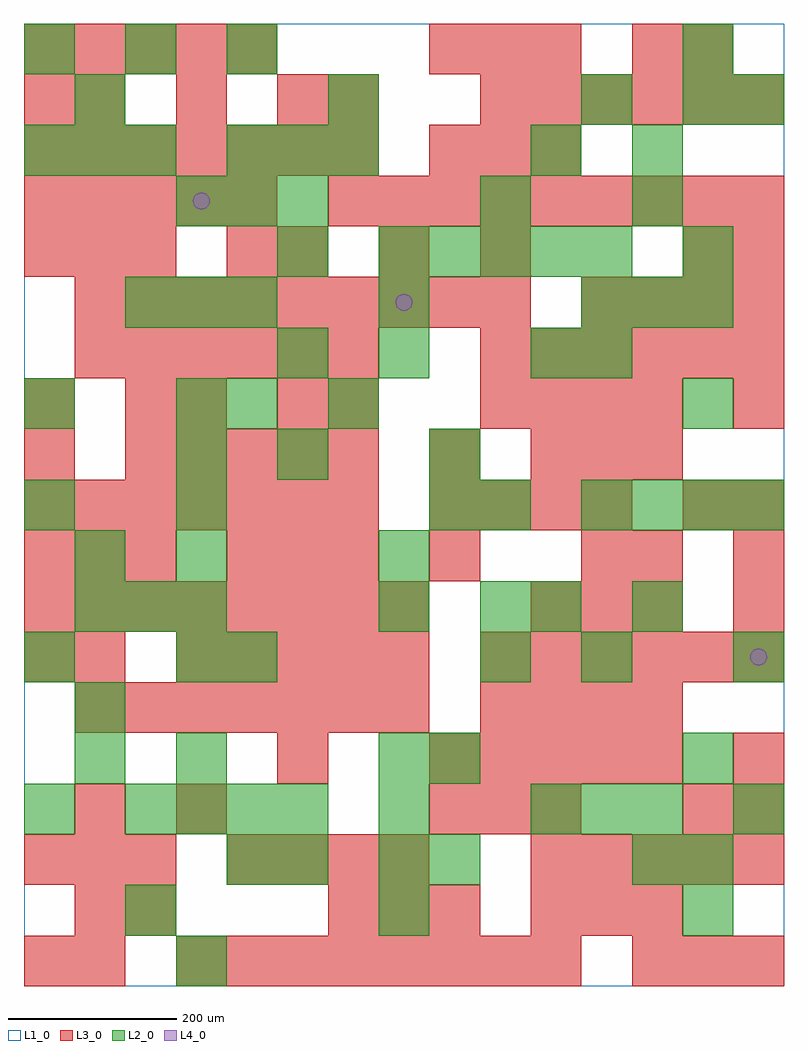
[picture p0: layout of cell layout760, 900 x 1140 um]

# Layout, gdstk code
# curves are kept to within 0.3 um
import gdstk
lib = gdstk.Library(unit=1e-6, precision=1e-09)
def R(c, l, rs):  # rectangles x0, y0, x1, y1
    for r in rs: c.add(gdstk.rectangle(r[:2], r[2:], *l))
def A(c, l, x, y, w, h, nx, ny, dx, dy):  # array of equal rectangles
    R(c, l, [(x+i*dx, y+j*dy, x+i*dx+w, y+j*dy+h) for i in range(nx) for j in range(ny)])
def P(c, l, *ps):  # polygons
    for p in ps: c.add(gdstk.Polygon(p, *l))
L1_0 = (1, 0)
L2_0 = (2, 0)
L3_0 = (3, 0)
L4_0 = (4, 0)

layout760 = lib.new_cell('layout760')
R(layout760, L1_0, [(0,0,900,1140)])
A(layout760, L2_0, 420, 60, 60, 60, 1, 4, 0, 60)
A(layout760, L2_0, 0, 180, 60, 60, 1, 3, 0, 180)
A(layout760, L2_0, 120, 180, 60, 60, 4, 1, 60, 0)
A(layout760, L2_0, 600, 180, 60, 60, 3, 1, 60, 0)
A(layout760, L2_0, 180, 240, 60, 60, 1, 3, 0, 120)
A(layout760, L2_0, 60, 420, 60, 60, 3, 1, 60, 0)
A(layout760, L2_0, 180, 540, 60, 60, 1, 3, 0, 60)
A(layout760, L2_0, 660, 540, 60, 60, 4, 1, 60, 0)
A(layout760, L2_0, 300, 600, 60, 60, 1, 3, 0, 120)
A(layout760, L2_0, 780, 660, 60, 60, 1, 3, 0, 180)
A(layout760, L2_0, 120, 780, 60, 60, 3, 1, 60, 0)
A(layout760, L2_0, 660, 780, 60, 60, 3, 1, 60, 0)
A(layout760, L2_0, 420, 840, 60, 60, 5, 1, 60, 0)
A(layout760, L2_0, 180, 900, 60, 60, 3, 1, 60, 0)
A(layout760, L2_0, 0, 960, 60, 60, 3, 1, 60, 0)
A(layout760, L2_0, 240, 960, 60, 60, 3, 1, 60, 0)
A(layout760, L2_0, 60, 1020, 60, 60, 3, 1, 300, 0)
A(layout760, L2_0, 0, 1080, 60, 60, 3, 1, 120, 0)
R(layout760, L2_0, [(180,0,240,60), (120,60,180,120), (780,60,840,120), (240,120,300,180), (300,120,360,180), (480,120,540,180), (720,120,780,180), (780,120,840,180), (840,180,900,240), (60,240,120,300), (480,240,540,300), (780,240,840,300), (60,300,120,360), (240,360,300,420), (540,360,600,420), (660,360,720,420), (840,360,900,420), (420,420,480,480), (540,420,600,480), (600,420,660,480), (720,420,780,480), (60,480,120,540), (420,480,480,540), (480,540,540,600), (540,540,600,600), (480,600,540,660), (0,660,60,720), (240,660,300,720), (360,660,420,720), (420,720,480,780), (600,720,660,780), (660,720,720,780), (420,780,480,840), (540,900,600,960), (720,900,780,960), (600,960,660,1020), (720,960,780,1020), (840,1020,900,1080), (780,1080,840,1140)])
A(layout760, L3_0, 180, 0, 60, 60, 8, 1, 60, 0)
A(layout760, L3_0, 720, 0, 60, 60, 3, 1, 60, 0)
A(layout760, L3_0, 360, 60, 60, 60, 3, 1, 60, 0)
A(layout760, L3_0, 600, 60, 60, 60, 3, 2, 60, 360)
A(layout760, L3_0, 0, 120, 60, 60, 3, 3, 60, 360)
A(layout760, L3_0, 240, 120, 60, 60, 4, 1, 60, 0)
A(layout760, L3_0, 600, 120, 60, 60, 5, 1, 60, 0)
A(layout760, L3_0, 480, 180, 60, 60, 3, 2, 60, 780)
A(layout760, L3_0, 480, 240, 60, 60, 5, 1, 60, 0)
A(layout760, L3_0, 60, 300, 60, 60, 7, 1, 60, 0)
A(layout760, L3_0, 540, 300, 60, 60, 4, 2, 60, 360)
A(layout760, L3_0, 180, 360, 60, 60, 5, 1, 60, 0)
A(layout760, L3_0, 540, 360, 60, 60, 6, 2, 60, 360)
A(layout760, L3_0, 0, 420, 60, 60, 8, 1, 60, 0)
A(layout760, L3_0, 840, 420, 60, 60, 1, 3, 0, 60)
A(layout760, L3_0, 240, 480, 60, 60, 3, 1, 60, 0)
A(layout760, L3_0, 0, 540, 60, 60, 7, 2, 60, 420)
A(layout760, L3_0, 480, 540, 60, 60, 4, 1, 60, 0)
A(layout760, L3_0, 120, 600, 60, 60, 5, 1, 60, 0)
A(layout760, L3_0, 600, 600, 60, 60, 3, 1, 60, 0)
A(layout760, L3_0, 60, 720, 60, 60, 6, 1, 60, 0)
A(layout760, L3_0, 60, 780, 60, 60, 9, 1, 60, 0)
A(layout760, L3_0, 660, 780, 60, 60, 4, 1, 60, 0)
A(layout760, L3_0, 300, 840, 60, 60, 3, 1, 120, 0)
A(layout760, L3_0, 0, 900, 60, 60, 5, 2, 60, 180)
A(layout760, L3_0, 360, 900, 60, 60, 9, 1, 60, 0)
A(layout760, L3_0, 60, 1020, 60, 60, 3, 1, 120, 0)
A(layout760, L3_0, 540, 1020, 60, 60, 6, 1, 60, 0)
A(layout760, L3_0, 480, 1080, 60, 60, 3, 1, 60, 0)
R(layout760, L3_0, [(0,0,60,60), (60,0,120,60), (60,60,120,120), (120,60,180,120), (60,180,120,240), (180,180,240,240), (780,180,840,240), (840,180,900,240), (300,240,360,300), (840,240,900,300), (0,360,60,420), (60,360,120,420), (480,480,540,540), (660,480,720,540), (720,480,780,540), (780,540,840,600), (0,600,60,660), (480,600,540,660), (0,660,60,720), (120,660,180,720), (180,660,240,720), (300,660,360,720), (360,660,420,720), (840,660,900,720), (240,840,300,900), (780,840,840,900), (840,840,900,900), (0,1020,60,1080), (360,1020,420,1080), (720,1080,780,1140), (780,1080,840,1140)])
P(layout760, L4_0, [(220,930),(219.239,933.827),(217.071,937.071),(213.827,939.239),(210,940),(206.173,939.239),(202.929,937.071),(200.761,933.827),(200,930),(200.761,926.173),(202.929,922.929),(206.173,920.761),(210,920),(213.827,920.761),(217.071,922.929),(219.239,926.173)],
  [(460,810),(459.239,813.827),(457.071,817.071),(453.827,819.239),(450,820),(446.173,819.239),(442.929,817.071),(440.761,813.827),(440,810),(440.761,806.173),(442.929,802.929),(446.173,800.761),(450,800),(453.827,800.761),(457.071,802.929),(459.239,806.173)],
  [(880,390),(879.239,393.827),(877.071,397.071),(873.827,399.239),(870,400),(866.173,399.239),(862.929,397.071),(860.761,393.827),(860,390),(860.761,386.173),(862.929,382.929),(866.173,380.761),(870,380),(873.827,380.761),(877.071,382.929),(879.239,386.173)])

lib.write_gds('layout760.gds')
